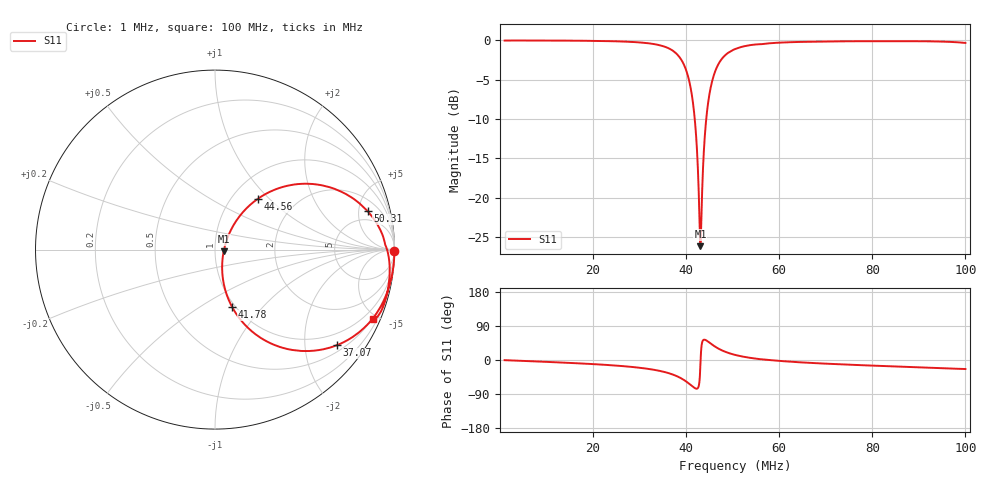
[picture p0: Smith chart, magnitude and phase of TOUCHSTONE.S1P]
!Agilent Technologies,E5061B,MY49304363,A.02.22
!Date: Fri Nov 10 12:53:30 2023
!Data & Calibration Information:
!Freq	S11:SOLT1(ON)
# Hz S RI R 50
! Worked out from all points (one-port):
!   1601 points, 1 MHz to 100 MHz, reference 50 ohm
!   lowest |S11| = -26.1 dB at 43.08 MHz (marker M1), VSWR 1.10, Z = 55.1 - j0.937 ohm
!   |S11| at or under -10 dB: 41.85 MHz to 44.32 MHz (2.463 MHz wide, 5.72 % of centre)
!   S11 on the Smith chart (normalised r, x): 1 MHz: open; 37.07 MHz: 0.66, -2.76; 41.78 MHz: 0.96, -0.70; 44.56 MHz: 1.31, +0.85; 50.31 MHz: 3.39, +6.27; 100 MHz: 0.42, -4.71
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1000000  0.9983 -0.00836
1.3375e7  0.9906 -0.1175
2.575e7  0.9498 -0.2636
3.280375e7  0.8605 -0.4056
3.521688e7  0.7834 -0.4753
3.707312e7  0.6797 -0.5323
3.8125e7  0.5912 -0.5579
3.93625e7  0.4477 -0.5618
4.03525e7  0.302 -0.5184
4.115688e7  0.1771 -0.4295
4.177562e7  0.0956 -0.3203
4.220875e7  0.0568 -0.2244
4.276562e7  0.0398 -0.0865
4.3075e7  0.0485 -0.00848
4.338438e7  0.07 0.0665
4.400312e7  0.1454 0.1967
4.456e7  0.2372 0.282
4.542625e7  0.3907 0.3527
4.654e7  0.5622 0.3635
4.821062e7  0.735 0.3064
5.031438e7  0.8501 0.2141
5.05e7  0.8569 0.2063
5.27275e7  0.9138 0.1242
5.545e7  0.9441 0.046
6.2875e7  0.9722 -0.0825
7.525e7  0.9645 -0.2141
8.7625e7  0.9396 -0.3104
1e8  0.8825 -0.389
